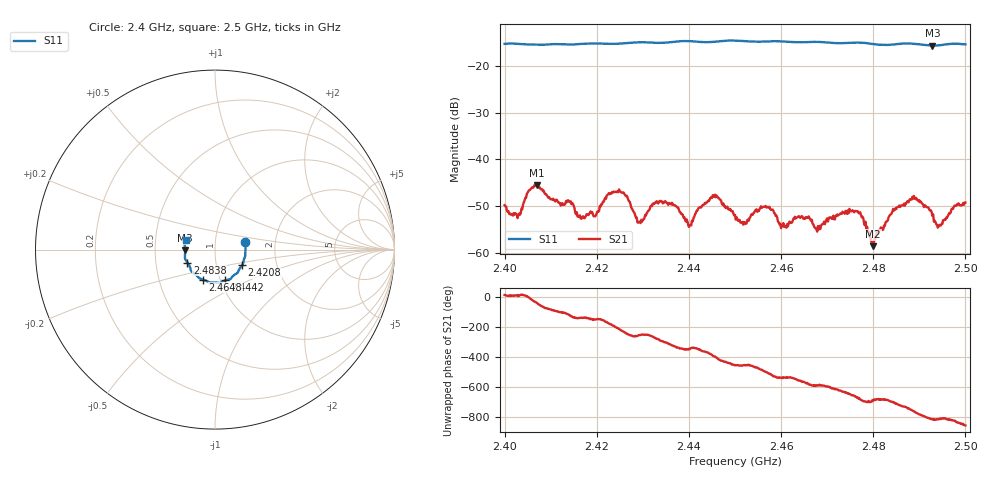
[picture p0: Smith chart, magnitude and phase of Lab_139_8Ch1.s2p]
# Hz S RI R 50
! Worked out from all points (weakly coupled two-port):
!   601 points, 2.4 GHz to 2.5 GHz, reference 50 ohm
!   highest |S21| = -45.45 dB at 2.407 GHz (marker M1); lowest = -58.6 dB at 2.48 GHz (marker M2)
!   lowest |S11| = -15.6 dB at 2.4928 GHz (marker M3), VSWR 1.40, Z = 35.8 - j0.352 ohm
!   |S11| at or under -10 dB: start of sweep to end of sweep
!   S12 and S22 are empty: the file has one direction only
!   S11 on the Smith chart (normalised r, x): 2.4 GHz: 1.40, +0.12; 2.4208 GHz: 1.33, -0.24; 2.4442 GHz: 1.05, -0.37; 2.4648 GHz: 0.83, -0.29; 2.4838 GHz: 0.73, -0.11; 2.5 GHz: 0.72, +0.08
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2.4e9  0.1679 0.0412  0.00314 0.000795  0 0  0 0
2.403e9  0.1713 0.0244  0.00257 0.000271  0 0  0 0
2.407e9  0.1694 -0.00943  0.00417 -0.00334  0 0  0 0
2.416667e9  0.1589 -0.068  -0.00167 -0.0016  0 0  0 0
2.420833e9  0.1507 -0.0872  -0.00262 -0.00172  0 0  0 0
2.425333e9  0.1349 -0.11  -0.00327 0.00299  0 0  0 0
2.429333e9  0.1264 -0.1282  -0.000616 0.00207  0 0  0 0
2.433333e9  0.1079 -0.1404  0.000614 0.00332  0 0  0 0
2.440333e9  0.0806 -0.1662  0.00188 0.0006  0 0  0 0
2.444167e9  0.0567 -0.1713  0.00355 -0.000623  0 0  0 0
2.45e9  0.0246 -0.1861  -0.000223 -0.00253  0 0  0 0
2.456667e9  -0.0182 -0.1821  -0.00238 -0.0021  0 0  0 0
2.464833e9  -0.0684 -0.1669  -0.00212 0.000936  0 0  0 0
2.466667e9  -0.08 -0.1627  -0.00149 0.00171  0 0  0 0
2.476667e9  -0.1306 -0.1215  0.00176 0.00215  0 0  0 0
2.48e9  -0.1374 -0.1037  0.00103 0.000576  0 0  0 0
2.483333e9  -0.1504 -0.0763  0.00208 0.00122  0 0  0 0
2.483833e9  -0.1533 -0.0722  0.00235 0.00106  0 0  0 0
2.488833e9  -0.1677 -0.0441  0.00304 -0.00271  0 0  0 0
2.492833e9  -0.1659 -0.00478  -0.000219 -0.00247  0 0  0 0
2.4945e9  -0.167 0.0131  2.63e-05 -0.00198  0 0  0 0
2.5e9  -0.1623 0.0531  -0.00247 -0.00243  0 0  0 0
